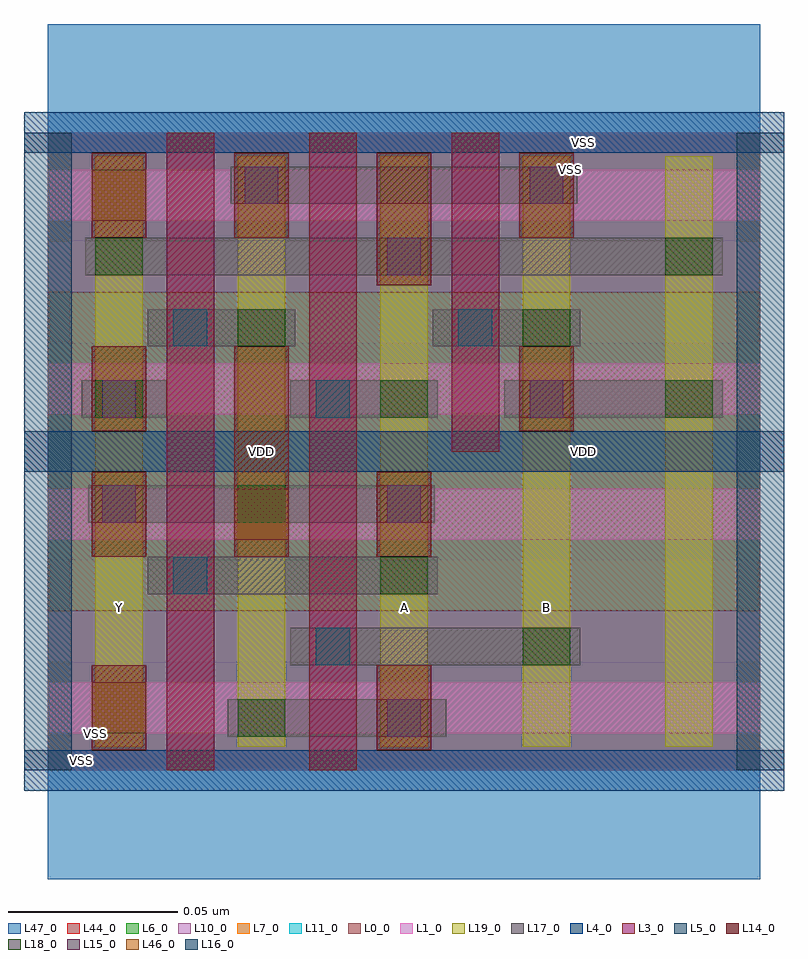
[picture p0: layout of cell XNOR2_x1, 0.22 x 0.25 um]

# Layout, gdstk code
import gdstk
lib = gdstk.Library(unit=1e-6, precision=5e-10)
def R(c, l, rs):  # rectangles x0, y0, x1, y1
    for r in rs: c.add(gdstk.rectangle(r[:2], r[2:], *l))
def A(c, l, x, y, w, h, nx, ny, dx, dy):  # array of equal rectangles
    R(c, l, [(x+i*dx, y+j*dy, x+i*dx+w, y+j*dy+h) for i in range(nx) for j in range(ny)])
L0_0 = (0, 0)
L1_0 = (1, 0)
L3_0 = (3, 0)
L4_0 = (4, 0)
L5_0 = (5, 0)
L6_0 = (6, 0)
L7_0 = (7, 0)
L10_0 = (10, 0)
L11_0 = (11, 0)
L14_0 = (14, 0)
L15_0 = (15, 0)
L16_0 = (16, 0)
L17_0 = (17, 0)
L18_0 = (18, 0)
L19_0 = (19, 0)
L44_0 = (44, 0)
L46_0 = (46, 0)
L47_0 = (47, 0)

xnor2_x1 = lib.new_cell('XNOR2_x1')
R(xnor2_x1, L0_0, [(0,0.047,0.21,0.141)])
R(xnor2_x1, L1_0, [(0,0.011,0.21,0.026), (0,0.068,0.21,0.083), (0,0.105,0.21,0.12), (0,0.162,0.21,0.177)])
A(xnor2_x1, L3_0, 0.035, 0.094, 0.014, 0.094, 3, 1, 0.042, 0)
R(xnor2_x1, L3_0, [(0.035,0,0.049,0.094), (0.077,0,0.091,0.094)])
A(xnor2_x1, L4_0, -0.007, -0.006, 0.224, 0.012, 1, 3, 0, 0.094)
R(xnor2_x1, L5_0, [(-0.007,0,0.007,0.188), (0.203,0,0.217,0.188)])
R(xnor2_x1, L6_0, [(0,0,0.21,0.047), (0,0.141,0.21,0.188)])
R(xnor2_x1, L7_0, [(0,0.047,0.21,0.141)])
R(xnor2_x1, L10_0, [(0,0,0.21,0.047), (0,0.141,0.21,0.188)])
R(xnor2_x1, L11_0, [(0,0.047,0.21,0.141)])
R(xnor2_x1, L14_0, [(0.013,0.006,0.029,0.031), (0.097,0.006,0.113,0.031), (0.013,0.063,0.029,0.088), (0.055,0.063,0.071,0.125), (0.097,0.063,0.113,0.088), (0.013,0.1,0.029,0.125), (0.139,0.1,0.155,0.125), (0.097,0.143,0.113,0.182), (0.013,0.157,0.029,0.182), (0.055,0.157,0.071,0.182), (0.139,0.157,0.155,0.182)])
R(xnor2_x1, L15_0, [(0.1,0.01,0.11,0.021), (0.016,0.073,0.026,0.084), (0.1,0.073,0.11,0.084), (0.016,0.104,0.026,0.115), (0.142,0.104,0.152,0.115), (0.1,0.146,0.11,0.157), (0.058,0.167,0.068,0.178), (0.142,0.167,0.152,0.178)])
R(xnor2_x1, L16_0, [(0.079,0.031,0.089,0.042), (0.037,0.052,0.047,0.063), (0.079,0.104,0.089,0.115), (0.037,0.125,0.047,0.136), (0.121,0.125,0.131,0.136)])
R(xnor2_x1, L17_0, [(0.053,0.01,0.1175,0.021), (0.0715,0.031,0.157,0.042), (0.0295,0.052,0.115,0.063), (0.012,0.073,0.114,0.084), (0.01,0.104,0.035,0.115), (0.0715,0.104,0.115,0.115), (0.1345,0.104,0.199,0.115), (0.0295,0.125,0.073,0.136), (0.1135,0.125,0.157,0.136), (0.011,0.146,0.199,0.157), (0.054,0.167,0.156,0.178)])
A(xnor2_x1, L18_0, 0.014, 0.104, 0.014, 0.011, 3, 1, 0.084, 0)
R(xnor2_x1, L18_0, [(0.056,0.01,0.07,0.021), (0.14,0.031,0.154,0.042), (0.098,0.052,0.112,0.063), (0.056,0.073,0.07,0.084), (0.056,0.125,0.07,0.136), (0.14,0.125,0.154,0.136), (0.014,0.146,0.028,0.157), (0.182,0.146,0.196,0.157)])
A(xnor2_x1, L19_0, 0.014, 0.007, 0.014, 0.174, 5, 1, 0.042, 0)
R(xnor2_x1, L44_0, [(0,0,0.21,0.188)])
R(xnor2_x1, L46_0, [(0.013,0.011,0.029,0.026), (0.055,0.068,0.071,0.083), (0.013,0.162,0.029,0.177)])
A(xnor2_x1, L47_0, 0, -0.032, 0.21, 0.064, 1, 3, 0, 0.094)
xnor2_x1.add(gdstk.Label('VSS', (0.014,0.011), layer=47, texttype=2))
xnor2_x1.add(gdstk.Label('VDD', (0.063,0.094), layer=47, texttype=2))
xnor2_x1.add(gdstk.Label('VSS', (0.154,0.177), layer=47, texttype=2))
xnor2_x1.add(gdstk.Label('Y', (0.021,0.048), layer=19, texttype=2))
xnor2_x1.add(gdstk.Label('A', (0.105,0.048), layer=19, texttype=2))
xnor2_x1.add(gdstk.Label('B', (0.147,0.048), layer=19, texttype=2))
xnor2_x1.add(gdstk.Label('VDD', (0.158,0.094), layer=0, texttype=2))
xnor2_x1.add(gdstk.Label('VSS', (0.01,0.003), layer=54, texttype=2))
xnor2_x1.add(gdstk.Label('VSS', (0.158,0.185), layer=54, texttype=2))

lib.write_gds('XNOR2_x1.gds')
